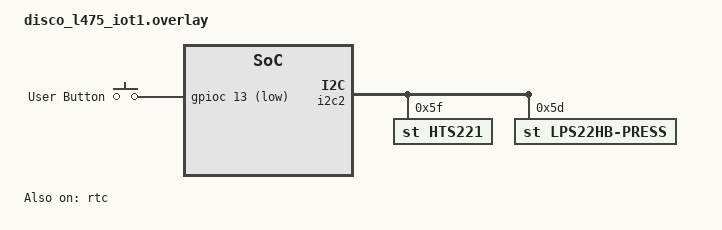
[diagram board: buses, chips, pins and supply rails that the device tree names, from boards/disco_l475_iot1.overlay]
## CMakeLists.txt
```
cmake_minimum_required(VERSION 3.20.0)
find_package(Zephyr REQUIRED HINTS $ENV{ZEPHYR_BASE})
project(seminar)

# Collect all the source files in app/prac2/src
FILE(GLOB app_sources src/*.c)

# Collect all the source files in lib. Note that
# the path given needs to be relative to the
# CMakeLists root, which is app/prac2 here,
# hence the ../../lib.c.
FILE(GLOB lib_sources ../../lib/*.c)

# Tell CMake to build with the app and lib sources
target_sources(app PRIVATE ${app_sources} ${lib_sources}) 
zephyr_include_directories(${CMAKE_CURRENT_SOURCE_DIR}/include)
# Tell CMake where our header files are
target_include_directories(app PRIVATE ../../include)
```

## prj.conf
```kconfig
# Enable RTC
CONFIG_RTC=y
CONFIG_RTC_STM32=y
CONFIG_CLOCK_CONTROL=y

# Enable shell
CONFIG_SHELL=y
CONFIG_SHELL_BACKEND_SERIAL=y

# Enable logging
CONFIG_LOG=y
CONFIG_LOG_DEFAULT_LEVEL=3
CONFIG_PRINTK=y


CONFIG_WIFI=y
CONFIG_WIFI_ESWIFI=y
CONFIG_NET_L2_WIFI_MGMT=y
# Enable serial console
CONFIG_SERIAL=y
CONFIG_STDOUT_CONSOLE=y

# Enable JSON library
CONFIG_JSON_LIBRARY=y

# Enable heap memory pool
CONFIG_HEAP_MEM_POOL_SIZE=1024

# Enable sensors
CONFIG_SENSOR=y
CONFIG_HTS221=y

# Enable networking
CONFIG_NETWORKING=y
CONFIG_NET_SOCKETS=y
CONFIG_NET_TCP=y
CONFIG_NET_IPV4=y

# Enable Wi-Fi
CONFIG_WIFI=y
# CONFIG_WIFI_STM32=y  # Commented out due to undefined symbol
CONFIG_NET_L2_WIFI_MGMT=y

# Enable DNS resolver
CONFIG_DNS_RESOLVER=y




# Enable HTTP client
CONFIG_HTTP_CLIENT=y
 


# Enable logging for debugging
CONFIG_NET_LOG=y 

# Set main stack size
CONFIG_MAIN_STACK_SIZE=2048
```

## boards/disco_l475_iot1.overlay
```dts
&i2c2 {
    hts221@5f {
        compatible = "st,hts221";
        reg = <0x5f>;
        status = "okay";
    };

    lps22hb-press@5d {
        compatible = "st,lps22hb-press";
        reg = <0x5d>;
        status = "okay";
    };

    
};



/ {
	aliases {
		rtc = &rtc;
	};
};

&rtc {
    status = "okay";
};


&i2c2 {
    status = "okay";
};

 / {
    aliases {
        sw0 = &button_0;
    };


gpio_keys {
    compatible = "gpio-keys";
    button_0: button_0 {
        label = "User Button";
        gpios = <&gpioc 13 GPIO_ACTIVE_LOW>;
        zephyr,code = <INPUT_KEY_0>;
    };
};
 };
 
```

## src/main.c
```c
#include <zephyr/kernel.h>
#include <zephyr/device.h>
#include <zephyr/drivers/rtc.h>
#include <zephyr/shell/shell.h>
#include <inttypes.h>
#include <zephyr/logging/log.h>
#include <stdlib.h>
#include <stdio.h> 
#include "rtc.h"
#include <zephyr/storage/disk_access.h>
 
#include <zephyr/fs/fs.h>
#include <zephyr/drivers/gpio.h>
#include "temp_humidity_sensor.h" 
#include "sampling.h"
#include "pressure_sensor.h" 
#include <zephyr/logging/log.h>
#include <zephyr/data/json.h>
#define SENSOR_STACK_SIZE 4096
#define BUTTON_THREAD_STACK_SIZE 1028
#define SENSOR_PRIORITY 5
#define BUTTON_THREAD_PRIORITY 7
#define MSGQ_MAX_MSGS 10
#define MSGQ_MSG_SIZE sizeof(int)
#define SAMPLING_THREAD_STACK_SIZE 4096
K_THREAD_STACK_DEFINE(sampling_thread_stack, SAMPLING_THREAD_STACK_SIZE);
//static struct k_thread sampling_thread_data;
#include <zephyr/storage/flash_map.h>
#include <zephyr/fs/fs.h>
#define MAX_PATH 128
#define JSON_THREAD_STACK_SIZE 4096
K_THREAD_STACK_DEFINE(json_thread_stack, JSON_THREAD_STACK_SIZE);
static struct k_thread temp_json_thread_data;
static struct k_thread hum_json_thread_data; 
static struct k_thread press_json_thread_data;

K_THREAD_STACK_DEFINE(temp_thread_stack, SENSOR_STACK_SIZE);
K_THREAD_STACK_DEFINE(hum_thread_stack, SENSOR_STACK_SIZE);
K_THREAD_STACK_DEFINE(pressure_thread_stack, SENSOR_STACK_SIZE); 
 
static struct k_thread temp_thread_data;
static struct k_thread hum_thread_data;
static struct k_thread pressure_thread_data; 

LOG_MODULE_REGISTER(main, LOG_LEVEL_DBG);

#include <zephyr/sys/mutex.h>

int global_sampling_rate = 2000; // Default  
struct k_mutex sampling_rate_mutex;
 
K_THREAD_STACK_DEFINE(sensor_stack, SENSOR_STACK_SIZE);
struct k_thread temp_humid_sensor_thread, pressure_sensor_thread;

extern void read_temp();
extern void read_hum(); 
extern void read_pressure();
extern void read_temp_continous();
extern void read_hum_continous();
extern void read_pressure_continous(); 
extern int get_latest_press_val(int *press_value); 
extern int set_rtc(int year, int month, int day, int hour, int min, int sec); 


extern const char *get_date_time(void);
extern int get_latest_hum_val(int *hum_val);

   
extern int get_latest_temp_val(int *temp_value);
static int generate_temp_json(const char *did, const char *rtc_time, int value);
 
#define SW0_NODE	DT_ALIAS(sw0)
#if !DT_NODE_HAS_STATUS_OKAY(SW0_NODE)
#error "Unsupported board: sw0 devicetree alias is not defined"
#endif
static const struct gpio_dt_spec button = GPIO_DT_SPEC_GET_OR(SW0_NODE, gpios,
    {0});
static struct gpio_callback button_cb_data;
 

struct sampling {
    const char *did;
    const char *rtc_time;
    int value; 
}; 

struct all_sensors_data {
    const char *did;
    const char *rtc_time;
    int temp_value;
    int hum_value;
    int press_value; 
};

static const struct json_obj_descr sampling_descr[] = {
    JSON_OBJ_DESCR_PRIM(struct sampling, did, JSON_TOK_STRING),
    JSON_OBJ_DESCR_PRIM(struct sampling, rtc_time, JSON_TOK_STRING),
    JSON_OBJ_DESCR_PRIM(struct sampling, value, JSON_TOK_NUMBER), 
};
 
static const struct json_obj_descr all_sensors_descr[] = {
    JSON_OBJ_DESCR_PRIM(struct all_sensors_data, did, JSON_TOK_STRING),
    JSON_OBJ_DESCR_PRIM(struct all_sensors_data, rtc_time, JSON_TOK_STRING),
    JSON_OBJ_DESCR_PRIM(struct all_sensors_data, temp_value, JSON_TOK_NUMBER),
    JSON_OBJ_DESCR_PRIM(struct all_sensors_data, hum_value, JSON_TOK_NUMBER),
    JSON_OBJ_DESCR_PRIM(struct all_sensors_data, press_value, JSON_TOK_NUMBER), 
};

 
// #include <string.h>
// #include <zephyr/net/http/client.h>
// #include <string.h>
// #include <stdio.h>

// #include <zephyr/net/wifi.h>
// #include <zephyr/logging/log.h>
// #include <zephyr/net/wifi_mgmt.h>

#include <zephyr/net/wifi_mgmt.h>
#include <zephyr/net/net_mgmt.h>

 
static void connect_to_wifi(void) {
    struct wifi_connect_req_params wifi_params = {
        .ssid = "Telstra1B216F",  // Replace with your SSID
        .ssid_length = strlen("Telstra1B216F"),
        .psk = "cs62spe9xx",      // Replace with your password
        .psk_length = strlen("cs62spe9xx"),
        .security = WIFI_SECURITY_TYPE_PSK,
    };

    int ret = net_mgmt(NET_REQUEST_WIFI_CONNECT, NULL, &wifi_params, sizeof(wifi_params));
    if (ret) {
        LOG_ERR("Failed to connect to Wi-Fi: %d", ret);
    } else {
        LOG_INF("Connected to Wi-Fi");
    }
}

#include <zephyr/net/socket.h>
#include <zephyr/net/net_ip.h>
#include <stdio.h>
#include <string.h>


#define SERVER_ADDR "192.168.0.27"
#define INFLUXDB_TOKEN "9qF9f9iYm6HskdbanV7BO9yTOq6dl6QBzg67KXwMWAGzj8KNJLusuZC7Hr49OWL5syXI1WlzhOi5CoAmPUhvQQ=="
#define SERVER_PORT 8086

static int send_json_to_influxdb(const char *payload) {
    struct sockaddr_in server_addr;
    char send_buf[512];
    int sock;
    int ret;

    // Create socket
    sock = zsock_socket(AF_INET, SOCK_STREAM, IPPROTO_TCP);
    if (sock < 0) {
        printk("Failed to create socket: %d\n", sock);
        return -1;
    }

    // Configure server address
    server_addr.sin_family = AF_INET;
    server_addr.sin_port = htons(SERVER_PORT);
    net_addr_pton(AF_INET, SERVER_ADDR, &server_addr.sin_addr);

    // Connect to server
    ret = zsock_connect(sock, (struct sockaddr *)&server_addr, sizeof(server_addr));
    if (ret < 0) {
        printk("Connection failed: %d\n", ret);
        zsock_close(sock);
        return -1;
    }

    // Build HTTP POST request
    snprintf(send_buf, sizeof(send_buf),
             "POST /api/v2/write?org=uq&bucket=seminar&precision=s HTTP/1.1\r\n"
             "Host: %s:%d\r\n"
            "Authorization: Token 9qF9f9iYm6HskdbanV7BO9yTOq6dl6QBzg67KXwMWAGzj8KNJLusuZC7Hr49OWL5syXI1WlzhOi5CoAmPUhvQQ==\r\n"
             "Content-Type: text/plain\r\n"
             "Content-Length: %zu\r\n"
             "\r\n"
             "%s",
             SERVER_ADDR, SERVER_PORT, strlen(payload), payload);

    // Send data
    ret = zsock_send(sock, send_buf, strlen(send_buf), 0);
    if (ret < 0) {
        printk("Send failed: %d\n", ret);
        zsock_close(sock);
        return -1;
    }

    printk("Data sent successfully\n");

    // Optionally receive response
    ret = zsock_recv(sock, send_buf, sizeof(send_buf) - 1, 0);
    if (ret > 0) {
        send_buf[ret] = '\0';
        printk("Response: %s\n", send_buf);
    }

    zsock_close(sock);
    return 0;
}

    
//     int sock;
//     struct sockaddr_in server_addr;
//     char send_buf[512];
//     int ret;

//     // Create socket
//     sock = socket(AF_INET, SOCK_STREAM, IPPROTO_TCP);
//     if (sock < 0) {
//         printk("Failed to create socket\n");
//         return -1;
//     }

//     // Configure server address
//     server_addr.sin_family = AF_INET;
//     server_addr.sin_port = htons(SERVER_PORT);
//     inet_pton(AF_INET, SERVER_ADDR, &server_addr.sin_addr);

//     // Connect to server
//     ret = connect(sock, (struct sockaddr *)&server_addr, sizeof(server_addr));
//     if (ret < 0) {
//         printk("Connection failed: %d\n", errno);
//         close(sock);
//         return -1;
//     }

//     // Build HTTP POST request
//      snprintf(send_buf, sizeof(send_buf),
//              "POST /api/v2/write?org=uq&bucket=seminar&precision=s HTTP/1.1\r\n"
//              "Host: %s:%d\r\n"
//              "Authorization: Token 9qF9f9iYm6HskdbanV7BO9yTOq6dl6QBzg67KXwMWAGzj8KNJLusuZC7Hr49OWL5syXI1WlzhOi5CoAmPUhvQQ==\r\n"
//              "Content-Type: text/plain\r\n"
//              "Content-Length: %zu\r\n"
//              "\r\n"
//              "%s",
//              SERVER_ADDR, SERVER_PORT, strlen(payload), payload);

//     // Send data
//     ret = send(sock, send_buf, strlen(send_buf), 0);
//     if (ret < 0) {
//         printk("Send failed: %d\n", errno);
//         close(sock);
//         return -1;
//     }

//     printk("Data sent successfully\n");

//     // Optionally receive response
//     ret = recv(sock, send_buf, sizeof(send_buf) - 1, 0);
//     if (ret > 0) {
//         send_buf[ret] = '\0';
//         printk("Response: %s\n", send_buf);
//     }

//     close(sock);
//     return 0;

// }
// #define INFLUXDB_HOST "http://localhost:8086/api/v2/write"
// #define INFLUXDB_PORT 8086
// #define INFLUXDB_ORG "uq"
// #define INFLUXDB_BUCKET "seminar"
// #define INFLUXDB_TOKEN "9qF9f9iYm6HskdbanV7BO9yTOq6dl6QBzg67KXwMWAGzj8KNJLusuZC7Hr49OWL5syXI1WlzhOi5CoAmPUhvQQ=="

 

static int generate_all_sensors_json(const char *did, const char *rtc_time, int temp_value, int hum_value, int press_value) {
    struct all_sensors_data all_data;
    all_data.did = did;
    all_data.rtc_time = rtc_time;
    all_data.temp_value = temp_value;
    all_data.hum_value = hum_value;
    all_data.press_value = press_value; 

    char str[256];
    int ret = json_obj_encode_buf(all_sensors_descr, ARRAY_SIZE(all_sensors_descr), &all_data, str, sizeof(str));

    if (ret < 0) {
        LOG_ERR("JSON encoding error: %d", ret);
        return ret;
    }
 
    
    printf("%s\n", str);


    char line_protocol[256];
    int timestamp = 0; // Convert rtc_time to Unix timestamp here

    // Convert JSON to line protocol
    snprintf(line_protocol, sizeof(line_protocol),
             "sensors,did=%s temp_value=%d,hum_value=%d,press_value=%d %d",
             did, temp_value, hum_value, press_value, timestamp);

    // Send to InfluxDB
    return send_json_to_influxdb(line_protocol);
 
}


 
 


void all_sensors_json_generation_thread(void *arg1) {
    struct sampling *sampling_data = (struct sampling *)arg1;

//LOG_INF("JSON generation thread started for DID: %s", sampling_data->did);

    while (sampling_settings.ctn_sampling_on) {
        int temp_value, hum_value, press_value; 
 
        if (get_latest_temp_val(&temp_value) != 0) {
            temp_value = -1;
        }
    
        if (get_latest_hum_val(&hum_value) != 0) {
            hum_value = -1;
        }
    
        if (get_latest_press_val(&press_value) != 0) {
            press_value = -1;
        }
     
    

    const char *datetime_str = get_date_time();
 
    generate_all_sensors_json(sampling_data->did, datetime_str, temp_value, hum_value, press_value);

    k_sleep(K_MSEC(global_sampling_rate));
}

//LOG_INF("JSON generation thread stopped for DID: %s", sampling_data->did);

k_free(sampling_data);
}

void json_generation_thread(void *arg1) {
    struct sampling *sampling_data = (struct sampling *)arg1;
    int value;

   // LOG_INF("JSON generation thread started for DID: %s", sampling_data->did);

 
    while ((strcmp(sampling_data->did, "0") == 0 && sampling_settings.ctn_temp_sampling_on) ||
           (strcmp(sampling_data->did, "1") == 0 && sampling_settings.ctn_hum_sampling_on) ||
           (strcmp(sampling_data->did, "2") == 0 && sampling_settings.ctn_pressure_sampling_on)) {
        
        int sampling_rate;
        k_mutex_lock(&sampling_rate_mutex, K_FOREVER);
        sampling_rate = global_sampling_rate;
        k_mutex_unlock(&sampling_rate_mutex);

        if (strcmp(sampling_data->did, "0") == 0) {
            if (get_latest_temp_val(&value) == 0) {
                const char *datetime_str = get_date_time();
                generate_temp_json(sampling_data->did, datetime_str, value);
            }
        } else if (strcmp(sampling_data->did, "1") == 0) {
            if (get_latest_hum_val(&value) == 0) {
                const char *datetime_str = get_date_time();
                generate_temp_json(sampling_data->did, datetime_str, value);
            }
    
        }
    else if (strcmp(sampling_data->did, "2") == 0) {
        if (get_latest_press_val(&value) == 0) {
            const char *datetime_str = get_date_time();
            generate_temp_json(sampling_data->did, datetime_str, value);
        
        }
    }

        k_sleep(K_MSEC(sampling_rate));
    }

   // LOG_INF("JSON generation thread stopped for DID: %s", sampling_data->did);

    k_free(sampling_data);
} 
 

static int generate_temp_json(const char *did, const char *rtc_time, int value) {
    struct sampling temp_data;
    temp_data.did = did;
    temp_data.rtc_time = rtc_time; 

     temp_data.value= value;
 

    char str[128];
    int ret = json_obj_encode_buf(sampling_descr, ARRAY_SIZE(sampling_descr), &temp_data, str, sizeof(str));

    if (ret < 0) {
        LOG_ERR("JSON encoding error: %d", ret);
        return ret;
    }

    printf("%s\n", str);
    return 0;
} 

static int cmd_contin(const struct shell *shell, size_t argc, char **argv) {
 
    if (argc < 3) {
        shell_print(shell, "Usage: sample <s/p> <DID> or sample w <rate>");
        return 0;
    }

//    const char *did = argv[2];
const char *command = argv[1];

    if (strcmp(command, "s") == 0 || strcmp(command, "p") == 0) {
        
        const char *did = argv[2];
        if (strcmp(did, "0") != 0 && strcmp(did, "1") != 0 &&
        strcmp(did, "2") != 0 && strcmp(did, "4") != 0 &&
        strcmp(did, "15") != 0) {
        shell_print(shell, "Invalid DID: %s. Valid DIDs are 0, 1, 2, 4, or 15.", did);
        return 0;
    }
    
    if (strcmp(argv[1], "s") == 0) { 
        if (strcmp(did, "0") == 0) {
            // Start temp sampling
        
            if (sampling_settings.ctn_temp_sampling_on) {
                shell_print(shell, "Continuous sampling for temp sensor already enabled");
                return 0;
            }

            sampling_settings.ctn_temp_sampling_on = true; 

            struct sampling *temp_sampling_data = k_malloc(sizeof(struct sampling));
            temp_sampling_data->did = did;

            k_thread_create(&temp_thread_data, temp_thread_stack,
                            K_THREAD_STACK_SIZEOF(temp_thread_stack),
                            read_temp_continous, NULL, NULL, NULL,
                            SENSOR_PRIORITY, 0, K_NO_WAIT);
      
        k_thread_create(&temp_json_thread_data, json_thread_stack,
                K_THREAD_STACK_SIZEOF(json_thread_stack),
                json_generation_thread, temp_sampling_data, NULL, NULL,
                SENSOR_PRIORITY, 0, K_NO_WAIT);

 
        //
        //     shell_print(shell, "Continuous sampling for temperature sensor started");
        }
        
        else if (strcmp(did, "1") == 0) {
            if (sampling_settings.ctn_hum_sampling_on) {
                shell_print(shell, "Continuous sampling for humidity sensor already enabled");
                return 0;
            }
            // Start hum sampling
            sampling_settings.ctn_hum_sampling_on = true;
 
            struct sampling *hum_sampling_data = k_malloc(sizeof(struct sampling));
            hum_sampling_data->did=did;
            k_thread_create(&hum_thread_data, hum_thread_stack,
                            K_THREAD_STACK_SIZEOF(hum_thread_stack),
                            read_hum_continous, NULL, NULL, NULL,
                            SENSOR_PRIORITY, 0, K_NO_WAIT);
          k_thread_create(&hum_json_thread_data, json_thread_stack,
            K_THREAD_STACK_SIZEOF(json_thread_stack),
            json_generation_thread, hum_sampling_data, NULL, NULL,
            SENSOR_PRIORITY, 0, K_NO_WAIT);

        //    shell_print(shell, "Continuous sampling for humidity sensor started");
        } else if (strcmp(did, "2") == 0) {
            // Start press sampling
            if (sampling_settings.ctn_pressure_sampling_on) {
                shell_print(shell, "Continuous sampling for pressure sensor already enabled");
                return 0;
            }
            sampling_settings.ctn_pressure_sampling_on = true;
            struct sampling *press_sampling_data = k_malloc(sizeof(struct sampling));
            press_sampling_data->did = did;
            k_thread_create(&pressure_thread_data, pressure_thread_stack,
                            K_THREAD_STACK_SIZEOF(pressure_thread_stack),
                            read_pressure_continous, NULL, NULL, NULL,
                            SENSOR_PRIORITY, 0, K_NO_WAIT);

                            
            k_thread_create(&press_json_thread_data, json_thread_stack,
                    K_THREAD_STACK_SIZEOF(json_thread_stack),
                    json_generation_thread, press_sampling_data, NULL, NULL,
                    SENSOR_PRIORITY, 0, K_NO_WAIT);

    //        shell_print(shell, "Continuous sampling for pressure sensor started");
     
 
             } else if (strcmp(did, "15") == 0) {
                if (sampling_settings.ctn_sampling_on) {
                    shell_print(shell, "Continuous sampling for all sensors already enabled");
                    return 0;
                }
            
                sampling_settings.ctn_sampling_on = true;
            
                // Start threads for all sensors
                if (!sampling_settings.ctn_temp_sampling_on) {
                    sampling_settings.ctn_temp_sampling_on = true;
                    k_thread_create(&temp_thread_data, temp_thread_stack,
                                    K_THREAD_STACK_SIZEOF(temp_thread_stack),
                                    read_temp_continous, NULL, NULL, NULL,
                                    SENSOR_PRIORITY, 0, K_NO_WAIT);
                }
            
                if (!sampling_settings.ctn_hum_sampling_on) {
                    sampling_settings.ctn_hum_sampling_on = true;
                    k_thread_create(&hum_thread_data, hum_thread_stack,
                                    K_THREAD_STACK_SIZEOF(hum_thread_stack),
                                    read_hum_continous, NULL, NULL, NULL,
                                    SENSOR_PRIORITY, 0, K_NO_WAIT);
                }
            
                if (!sampling_settings.ctn_pressure_sampling_on) {
                    sampling_settings.ctn_pressure_sampling_on = true;
                    k_thread_create(&pressure_thread_data, pressure_thread_stack,
                                    K_THREAD_STACK_SIZEOF(pressure_thread_stack),
                                    read_pressure_continous, NULL, NULL, NULL,
                                    SENSOR_PRIORITY, 0, K_NO_WAIT);
                }
            
          
                //  JSON for all sensors
                struct sampling *all_sensors_data = k_malloc(sizeof(struct sampling));
            
                all_sensors_data->did = did; 
                k_thread_create(&press_json_thread_data, json_thread_stack,
                                K_THREAD_STACK_SIZEOF(json_thread_stack),
                                all_sensors_json_generation_thread, all_sensors_data, NULL, NULL,
                                SENSOR_PRIORITY, 0, K_NO_WAIT);
            
      //          shell_print(shell, "Continuous sampling for all sensors started");
            }
    } else if (strcmp(argv[1], "p") == 0) {
       
    
        if (strcmp(did, "0") == 0) {
            if (!sampling_settings.ctn_temp_sampling_on) {
                shell_print(shell, "Temperature sampling is not running");
                return 0;
            }
            shell_print(shell, "Stopping temperature sampling");
            sampling_settings.ctn_temp_sampling_on = false;
        } else if (strcmp(did, "1") == 0) {
            if (!sampling_settings.ctn_hum_sampling_on) {
                shell_print(shell, "Humidity sampling is not running");
                return 0;
            }
            shell_print(shell, "Stopping humidity sampling");
            sampling_settings.ctn_hum_sampling_on = false;
        } else if (strcmp(did, "2") == 0) {
            if (!sampling_settings.ctn_pressure_sampling_on) {
                shell_print(shell, "Pressure sampling is not running");
                return 0;
            }
            shell_print(shell, "Stopping pressure sampling");
            sampling_settings.ctn_pressure_sampling_on = false;
       } else if (strcmp(did, "15") == 0) {
            if (!sampling_settings.ctn_sampling_on) {
                shell_print(shell, "No sensors are currently running");
                return 0;
            }
            shell_print(shell, "Stopping all sensors");
            sampling_settings.ctn_temp_sampling_on = false;
            sampling_settings.ctn_hum_sampling_on = false;
            sampling_settings.ctn_pressure_sampling_on = false; 
            sampling_settings.ctn_sampling_on = false;
        } else {
            shell_print(shell, "Invalid DID: %s", did);
            return 0;
        }
    }
    }
    
    else if (strcmp(command, "w") == 0) {
        int rate = atoi(argv[2]);
         if (strcmp(argv[1], "w") == 0) { 
            if (argc != 3) {
                shell_print(shell, "Usage: sample w <rate>");
                return 0;
            }
            
            if (rate <= 0) {
                shell_print(shell, "cant be -ms: %d", rate);
                return 0;
            }
         
            k_mutex_lock(&sampling_rate_mutex, K_FOREVER);
            global_sampling_rate = rate;
            k_mutex_unlock(&sampling_rate_mutex);
        
            shell_print(shell, "Sampling rate set to %d ms", rate);
            LOG_INF("Sampling rate changed to %d ms", rate);
        }
    } else {
        shell_print(shell, "Invalid command. Usage: sample <s/p> <DID> or sample w <rate>");
        return 0;
    }
    return 0;
}

static int cmd_rtc(const struct shell *shell, size_t argc, char **argv) {
    if (argc < 2) {
        shell_print(shell, "Usage: rtc r or rtc w <year> <month> <day> <hour> <min> <sec>");
        return 0;
    }

    if (strcmp(argv[1], "r") == 0) { 
        if (argc != 2) {
            shell_print(shell, "Usage: rtc r");
            return 0;
        } 
       const char *datetime_str = get_date_time();
       LOG_INF("RTC time: %s", datetime_str);

    } else if (strcmp(argv[1], "w") == 0) { 
        if (argc != 8) {
            shell_print(shell, "Usage: rtc w <year> <month> <day> <hour> <min> <sec>");
            return 0;
        }

        int year = atoi(argv[2]);
        int month = atoi(argv[3]);
        int day = atoi(argv[4]);
        int hour = atoi(argv[5]);
        int min = atoi(argv[6]);
        int sec = atoi(argv[7]);

        int ret = set_rtc(year, month, day, hour, min, sec);
        if (ret < 0) {
            shell_print(shell, "RTC time set failed: %d", ret);
            return ret;
        }
    } else {
        shell_print(shell, "Invalid command. Usage: rtc r or rtc w <year> <month> <day> <hour> <min> <sec>");
        return 0;
    }

    return 0;
}
 
 

int main(void) {
   connect_to_wifi();
   // Initialize RTC with the current system time
    // if (set_rtc_to_system_time() < 0) {
    //     LOG_ERR("Failed to set RTC to system time. Using default time.");
    // }

    while (1) {
    
       k_sleep(K_FOREVER); // Main thread sleeps forever
    }
    return 0;
}
 
SHELL_CMD_REGISTER(rtc, NULL, "rtc <w/r> #write/read RTC", cmd_rtc);
SHELL_CMD_REGISTER(sample, NULL, "sample <s/p> <DID> or sample w <rate>", cmd_contin);
```
